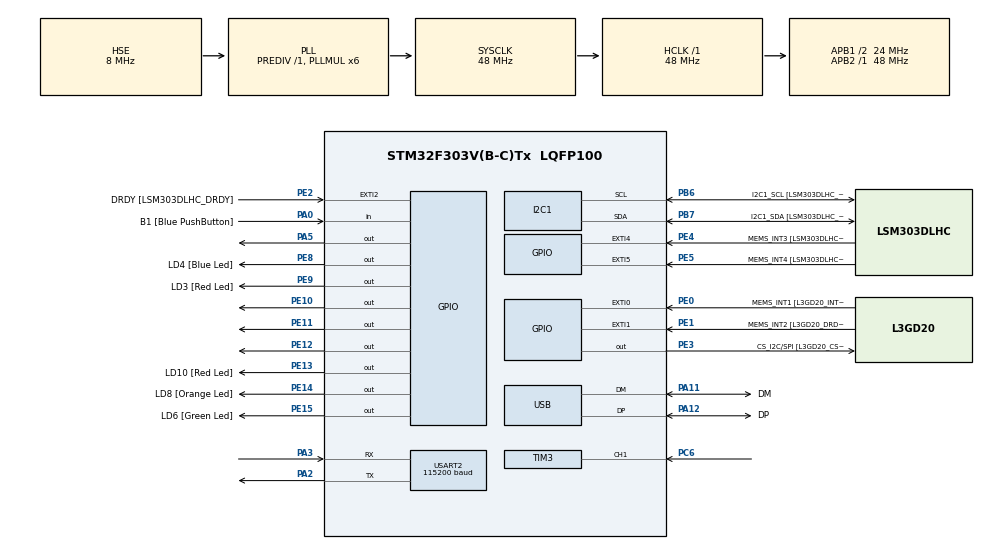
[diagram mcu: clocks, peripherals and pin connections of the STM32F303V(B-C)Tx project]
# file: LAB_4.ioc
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I2C1.Timing=0x00201D2B
I2C1.Timing-I2C=0x2000090E
Mcu.Family=STM32F3
Mcu.Name=STM32F303V(B-C)Tx
Mcu.Package=LQFP100
NVIC.PriorityGroup=NVIC_PRIORITYGROUP_0
NVIC.TIM3_IRQn=true\:0\:0\:false\:false\:true\:true\:true\:true
NVIC.USART2_IRQn=true\:0\:0\:false\:false\:true\:true\:true\:true
PA0.GPIO_Label=B1 [Blue PushButton]
PA0.Signal=GPIO_Input
PA11.GPIO_Label=DM
PA11.Mode=Device
PA11.Signal=USB_DM
PA12.GPIO_Label=DP
PA12.Mode=Device
PA12.Signal=USB_DP
PA13.GPIO_Label=SWDIO
PA13.Mode=Serial_Wire
PA13.Signal=SYS_JTMS-SWDIO
PA14.GPIO_Label=SWCLK
PA14.Mode=Serial_Wire
PA14.Signal=SYS_JTCK-SWCLK
PA2.Mode=Asynchronous
PA2.Signal=USART2_TX
PA3.Mode=Asynchronous
PA3.Signal=USART2_RX
PA5.Signal=GPIO_Output
PA6.GPIO_Label=SPI1_MISO [L3GD20_SA0/SDO]
PA6.Signal=SPI1_MISO
PA7.GPIO_Label=SPI1_MISO [L3GD20_SDA/SDI/SDO]
PA7.Signal=SPI1_MOSI
PB3.GPIO_Label=SWO
PB3.Signal=SYS_JTDO-TRACESWO
PB6.GPIO_Label=I2C1_SCL [LSM303DLHC_SCL]
PB6.GPIO_Pu=GPIO_PULLUP
PB6.Mode=I2C
PB6.Signal=I2C1_SCL
PB7.GPIO_Label=I2C1_SDA [LSM303DLHC_SDA]
PB7.GPIO_Pu=GPIO_PULLUP
PB7.Mode=I2C
PB7.Signal=I2C1_SDA
PC14-OSC32_IN.GPIO_Label=OSC32_IN
PC14-OSC32_IN.Signal=RCC_OSC32_IN
PC15-OSC32_OUT.GPIO_Label=OSC32_OUT
PC15-OSC32_OUT.Signal=RCC_OSC32_OUT
PC6.Signal=S_TIM3_CH1
PE0.GPIO_Label=MEMS_INT1 [L3GD20_INT1]
PE0.GPIO_ModeDefaultEXTI=GPIO_MODE_EVT_RISING
PE0.Signal=GPXTI0
PE1.GPIO_Label=MEMS_INT2 [L3GD20_DRDY/INT2]
PE1.GPIO_ModeDefaultEXTI=GPIO_MODE_EVT_RISING
PE1.Signal=GPXTI1
PE10.Signal=GPIO_Output
PE11.Signal=GPIO_Output
PE12.Signal=GPIO_Output
PE13.GPIO_Label=LD10 [Red Led]
PE13.Signal=GPIO_Output
PE14.GPIO_Label=LD8 [Orange Led]
PE14.Signal=GPIO_Output
PE15.GPIO_Label=LD6 [Green Led]
PE15.Signal=GPIO_Output
PE2.GPIO_Label=DRDY [LSM303DLHC_DRDY]
PE2.GPIO_ModeDefaultEXTI=GPIO_MODE_EVT_RISING
PE2.Signal=GPXTI2
PE3.GPIO_Label=CS_I2C/SPI [L3GD20_CS_I2C/SPI]
PE3.Signal=GPIO_Output
PE4.GPIO_Label=MEMS_INT3 [LSM303DLHC_INT1]
PE4.GPIO_ModeDefaultEXTI=GPIO_MODE_EVT_RISING
PE4.Signal=GPXTI4
PE5.GPIO_Label=MEMS_INT4 [LSM303DLHC_INT2]
PE5.GPIO_ModeDefaultEXTI=GPIO_MODE_EVT_RISING
PE5.Signal=GPXTI5
PE8.GPIO_Label=LD4 [Blue Led]
PE8.Signal=GPIO_Output
PE9.GPIO_Label=LD3 [Red Led]
PE9.Signal=GPIO_Output
PF0-OSC_IN.GPIO_Label=OSC_IN
PF0-OSC_IN.Mode=HSE-External-Clock-Source
PF0-OSC_IN.Signal=RCC_OSC_IN
PF1-OSC_OUT.GPIO_Label=OSC_OUT
PF1-OSC_OUT.Signal=RCC_OSC_OUT
ProjectManager.HeapSize=0x200
ProjectManager.StackSize=0x400
ProjectManager.TargetToolchain=CMake
RCC.AHBFreq_Value=48000000
RCC.APB1CLKDivider=RCC_HCLK_DIV2
RCC.APB1Freq_Value=24000000
RCC.APB1TimFreq_Value=48000000
RCC.APB2Freq_Value=48000000
RCC.APB2TimFreq_Value=48000000
RCC.CortexFreq_Value=48000000
RCC.HCLKFreq_Value=48000000
RCC.HSE_VALUE=8000000
RCC.HSI_VALUE=8000000
RCC.LSE_VALUE=32768
RCC.PLLMUL=RCC_PLL_MUL6
RCC.SYSCLKFreq_VALUE=48000000
RCC.SYSCLKSourceVirtual=RCC_SYSCLKSOURCE_PLLCLK
RCC.USBFreq_Value=48000000
SH.S_TIM3_CH1.0=TIM3_CH1,Input_Capture1_from_TI1
TIM2.Prescaler=47999
TIM3.Channel-Input_Capture1_from_TI1=TIM_CHANNEL_1
TIM3.Period=0xFFFF
TIM3.Prescaler=47
USART2.BaudRate=115200
USART2.VirtualMode-Asynchronous=VM_ASYNC
VP_TIM2_VS_ClockSourceINT.Mode=Internal
board=STM32F3DISCOVERY

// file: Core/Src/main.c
/* USER CODE BEGIN Header */
/**
  ******************************************************************************
  * @file           : main.c
  * @brief          : Main program body
  ******************************************************************************
  * @attention
  *
  * Copyright (c) 2025 STMicroelectronics.
  * All rights reserved.
  *
  * This software is licensed under terms that can be found in the LICENSE file
  * in the root directory of this software component.
  * If no LICENSE file comes with this software, it is provided AS-IS.
  *
  ******************************************************************************
  */
/* USER CODE END Header */
#include "main.h"
#include <stdio.h>

UART_HandleTypeDef huart2;

// #include "usb_device.h"

I2C_HandleTypeDef hi2c1;

TIM_HandleTypeDef htim2;
TIM_HandleTypeDef htim3;

PCD_HandleTypeDef hpcd_USB_FS;

void SystemClock_Config(void);
static void MX_GPIO_Init(void);
static void MX_I2C1_Init(void);
static void MX_TIM2_Init(void);
static void MX_USB_PCD_Init(void);
static void MX_TIM3_Init(void);
/* USER CODE BEGIN PFP */
static void MX_USART2_UART_Init(void)
{
  huart2.Instance = USART2;
  huart2.Init.BaudRate = 115200;
  huart2.Init.WordLength = UART_WORDLENGTH_8B;
  huart2.Init.StopBits = UART_STOPBITS_1;
  huart2.Init.Parity = UART_PARITY_NONE;
  huart2.Init.Mode = UART_MODE_TX_RX;
  huart2.Init.HwFlowCtl = UART_HWCONTROL_NONE;
  huart2.Init.OverSampling = UART_OVERSAMPLING_16;
  if (HAL_UART_Init(&huart2) != HAL_OK)
  {
    Error_Handler();
  }
}

/* USER CODE END PFP */

/* USER CODE BEGIN 0 */

/* USER CODE BEGIN 0 */
void delay_ms(uint32_t ms)
{
    __HAL_TIM_SET_COUNTER(&htim2, 0);        // Reset counter
    HAL_TIM_Base_Start(&htim2);              // Start TIM2

    while (__HAL_TIM_GET_COUNTER(&htim2) < ms)
    {
        // wait until counter reaches "ms"
    }

    HAL_TIM_Base_Stop(&htim2);               // Stop TIM2
}

// uint32_t countA = 0;
// uint32_t countB = 0;                                 //TASK 3
// uint32_t countC = 0;

/* USER CODE END 0 */

volatile uint32_t last_capture = 0;
volatile uint32_t period = 0;
volatile float frequency = 0;

void HAL_TIM_IC_CaptureCallback(TIM_HandleTypeDef *htim){
  if (htim->Channel == HAL_TIM_ACTIVE_CHANNEL_1)
  {
    uint32_t current_capture = HAL_TIM_ReadCapturedValue(htim, TIM_CHANNEL_1);

    if (current_capture >= last_capture)
      period = current_capture - last_capture;
    else
      period = (0xFFFF - last_capture + current_capture + 1);

    last_capture = current_capture;

    // Timer tick = 1 MHz → 1 µs
    // float timer_clock = 48000000.0f; // 48 MHz
    frequency = 1000000 / period;

    // Print results
    // printf("Period: %lu us | Frequency: %.2f Hz\r\n", period, frequency);
  }
}
int main(void)
{

  /* MCU Configuration--------------------------------------------------------*/

  /* Reset of all peripherals, Initializes the Flash interface and the Systick. */
  HAL_Init();

  /* Configure the system clock */
  SystemClock_Config();

  /* Initialize all configured peripherals */
  MX_GPIO_Init();
  MX_I2C1_Init();
  MX_TIM2_Init();
  MX_USB_PCD_Init();
  MX_USART2_UART_Init();
  MX_TIM3_Init();
  /* USER CODE BEGIN 2 */
  /* USER CODE BEGIN 2 */
HAL_TIM_IC_Start_IT(&htim3, TIM_CHANNEL_1);   // Start TIM3 Input Capture on CH1
/* USER CODE END 2 */

/* USER CODE BEGIN 2 */
  // Start TIM2 in interrupt mode
  /* USER CODE END 2 */

  /* Infinite loop */
  /* USER CODE BEGIN WHILE */
  // HAL_TIM_Base_Start_IT (& htim2 );                    //TASK 2

// HAL_TIM_Base_Start_IT(&htim2);    // TASK 3

// HAL_TIM_IC_Start_IT(&htim3, TIM_CHANNEL_1);  //task4

  while (1)
  {printf("Latest: Period=%lu us | Frequency=%.2f Hz\r\n", period, frequency);
    HAL_Delay(500);
    /* USER CODE END WHILE */

  }
}
// void HAL_TIM_PeriodElapsedCallback(TIM_HandleTypeDef *htim)                   //WHOLE TASK 3
// {
//     if (htim->Instance == TIM2)
//     {
//         // Increment counters every 1 ms
//         countA++;
//         countB++;
//         countC++;

//         // LED A: 500 ms toggle (1 Hz square wave)
//         if (countA >= 500)
//         {
//             HAL_GPIO_TogglePin(GPIOE, GPIO_PIN_10); // LED A
//             countA = 0;
//         }

//         // LED B: 200 ms toggle (2.5 Hz square wave)
//         if (countB >= 200)
//         {
//             HAL_GPIO_TogglePin(GPIOE, GPIO_PIN_11); // LED B
//             countB = 0;
//         }

//         // LED C: 100 ms toggle (5 Hz square wave)
//         if (countC >= 100)
//         {
//             HAL_GPIO_TogglePin(GPIOE, GPIO_PIN_12); // LED C
//             countC = 0;
//         }
//     }
// }

void SystemClock_Config(void)
{
  RCC_OscInitTypeDef RCC_OscInitStruct = {0};
  RCC_ClkInitTypeDef RCC_ClkInitStruct = {0};
  RCC_PeriphCLKInitTypeDef PeriphClkInit = {0};

  /** Initializes the RCC Oscillators according to the specified parameters
  * in the RCC_OscInitTypeDef structure.
  */
  RCC_OscInitStruct.OscillatorType = RCC_OSCILLATORTYPE_HSI|RCC_OSCILLATORTYPE_HSE;
  RCC_OscInitStruct.HSEState = RCC_HSE_BYPASS;
  RCC_OscInitStruct.HSEPredivValue = RCC_HSE_PREDIV_DIV1;
  RCC_OscInitStruct.HSIState = RCC_HSI_ON;
  RCC_OscInitStruct.HSICalibrationValue = RCC_HSICALIBRATION_DEFAULT;
  RCC_OscInitStruct.PLL.PLLState = RCC_PLL_ON;
  RCC_OscInitStruct.PLL.PLLSource = RCC_PLLSOURCE_HSE;
  RCC_OscInitStruct.PLL.PLLMUL = RCC_PLL_MUL6;
  if (HAL_RCC_OscConfig(&RCC_OscInitStruct) != HAL_OK)
  {
    Error_Handler();
  }

  /** Initializes the CPU, AHB and APB buses clocks
  */
  RCC_ClkInitStruct.ClockType = RCC_CLOCKTYPE_HCLK|RCC_CLOCKTYPE_SYSCLK
                              |RCC_CLOCKTYPE_PCLK1|RCC_CLOCKTYPE_PCLK2;
  RCC_ClkInitStruct.SYSCLKSource = RCC_SYSCLKSOURCE_PLLCLK;
  RCC_ClkInitStruct.AHBCLKDivider = RCC_SYSCLK_DIV1;
  RCC_ClkInitStruct.APB1CLKDivider = RCC_HCLK_DIV2;
  RCC_ClkInitStruct.APB2CLKDivider = RCC_HCLK_DIV1;

  if (HAL_RCC_ClockConfig(&RCC_ClkInitStruct, FLASH_LATENCY_1) != HAL_OK)
  {
    Error_Handler();
  }
  PeriphClkInit.PeriphClockSelection = RCC_PERIPHCLK_USB|RCC_PERIPHCLK_I2C1;
  PeriphClkInit.I2c1ClockSelection = RCC_I2C1CLKSOURCE_HSI;
  PeriphClkInit.USBClockSelection = RCC_USBCLKSOURCE_PLL;
  if (HAL_RCCEx_PeriphCLKConfig(&PeriphClkInit) != HAL_OK)
  {
    Error_Handler();
  }
}

static void MX_I2C1_Init(void)
{

  hi2c1.Instance = I2C1;
  hi2c1.Init.Timing = 0x2000090E;
  hi2c1.Init.OwnAddress1 = 0;
  hi2c1.Init.AddressingMode = I2C_ADDRESSINGMODE_7BIT;
  hi2c1.Init.DualAddressMode = I2C_DUALADDRESS_DISABLE;
  hi2c1.Init.OwnAddress2 = 0;
  hi2c1.Init.OwnAddress2Masks = I2C_OA2_NOMASK;
  hi2c1.Init.GeneralCallMode = I2C_GENERALCALL_DISABLE;
  hi2c1.Init.NoStretchMode = I2C_NOSTRETCH_DISABLE;
  if (HAL_I2C_Init(&hi2c1) != HAL_OK)
  {
    Error_Handler();
  }

  /** Configure Analogue filter
  */
  if (HAL_I2CEx_ConfigAnalogFilter(&hi2c1, I2C_ANALOGFILTER_ENABLE) != HAL_OK)
  {
    Error_Handler();
  }

  /** Configure Digital filter
  */
  if (HAL_I2CEx_ConfigDigitalFilter(&hi2c1, 0) != HAL_OK)
  {
    Error_Handler();
  }

}

static void MX_TIM2_Init(void)
{

  TIM_ClockConfigTypeDef sClockSourceConfig = {0};
  TIM_MasterConfigTypeDef sMasterConfig = {0};

  htim2.Instance = TIM2;
  htim2.Init.Prescaler = 47999;
  htim2.Init.CounterMode = TIM_COUNTERMODE_UP;
  htim2.Init.Period = 999 ;//4294967295;
  htim2.Init.ClockDivision = TIM_CLOCKDIVISION_DIV1;
  htim2.Init.AutoReloadPreload = TIM_AUTORELOAD_PRELOAD_DISABLE;
  if (HAL_TIM_Base_Init(&htim2) != HAL_OK)
  {
    Error_Handler();
  }
  sClockSourceConfig.ClockSource = TIM_CLOCKSOURCE_INTERNAL;
  if (HAL_TIM_ConfigClockSource(&htim2, &sClockSourceConfig) != HAL_OK)
  {
    Error_Handler();
  }
  sMasterConfig.MasterOutputTrigger = TIM_TRGO_RESET;
  sMasterConfig.MasterSlaveMode = TIM_MASTERSLAVEMODE_DISABLE;
  if (HAL_TIMEx_MasterConfigSynchronization(&htim2, &sMasterConfig) != HAL_OK)
  {
    Error_Handler();
  }

}

static void MX_TIM3_Init(void)
{

  TIM_MasterConfigTypeDef sMasterConfig = {0};
  TIM_IC_InitTypeDef sConfigIC = {0};

  htim3.Instance = TIM3;
  htim3.Init.Prescaler = 47;
  htim3.Init.CounterMode = TIM_COUNTERMODE_UP;
  htim3.Init.Period = 65535;
  htim3.Init.ClockDivision = TIM_CLOCKDIVISION_DIV1;
  htim3.Init.AutoReloadPreload = TIM_AUTORELOAD_PRELOAD_DISABLE;
  if (HAL_TIM_IC_Init(&htim3) != HAL_OK)
  {
    Error_Handler();
  }
  sMasterConfig.MasterOutputTrigger = TIM_TRGO_RESET;
  sMasterConfig.MasterSlaveMode = TIM_MASTERSLAVEMODE_DISABLE;
  if (HAL_TIMEx_MasterConfigSynchronization(&htim3, &sMasterConfig) != HAL_OK)
  {
    Error_Handler();
  }
  sConfigIC.ICPolarity = TIM_INPUTCHANNELPOLARITY_RISING;
  sConfigIC.ICSelection = TIM_ICSELECTION_DIRECTTI;
  sConfigIC.ICPrescaler = TIM_ICPSC_DIV1;
  sConfigIC.ICFilter = 0;
  if (HAL_TIM_IC_ConfigChannel(&htim3, &sConfigIC, TIM_CHANNEL_1) != HAL_OK)
  {
    Error_Handler();
  }

}

static void MX_USB_PCD_Init(void)
{

  hpcd_USB_FS.Instance = USB;
  hpcd_USB_FS.Init.dev_endpoints = 8;
  hpcd_USB_FS.Init.speed = PCD_SPEED_FULL;
  hpcd_USB_FS.Init.phy_itface = PCD_PHY_EMBEDDED;
  hpcd_USB_FS.Init.low_power_enable = DISABLE;
  hpcd_USB_FS.Init.battery_charging_enable = DISABLE;
  if (HAL_PCD_Init(&hpcd_USB_FS) != HAL_OK)
  {
    Error_Handler();
  }

}

static void MX_GPIO_Init(void)
{
  GPIO_InitTypeDef GPIO_InitStruct = {0};

  /* GPIO Ports Clock Enable */
  __HAL_RCC_GPIOE_CLK_ENABLE();
  __HAL_RCC_GPIOC_CLK_ENABLE();
  __HAL_RCC_GPIOF_CLK_ENABLE();
  __HAL_RCC_GPIOA_CLK_ENABLE();
  __HAL_RCC_GPIOB_CLK_ENABLE();

  /*Configure GPIO pin Output Level */
  HAL_GPIO_WritePin(GPIOE, CS_I2C_SPI_Pin|LD4_Pin|LD3_Pin|GPIO_PIN_10
                          |GPIO_PIN_11|GPIO_PIN_12|LD10_Pin|LD8_Pin
                          |LD6_Pin, GPIO_PIN_RESET);

  /*Configure GPIO pin Output Level */
  HAL_GPIO_WritePin(GPIOA, GPIO_PIN_5, GPIO_PIN_RESET);

  /*Configure GPIO pins : DRDY_Pin MEMS_INT3_Pin MEMS_INT4_Pin MEMS_INT1_Pin
                           MEMS_INT2_Pin */
  GPIO_InitStruct.Pin = DRDY_Pin|MEMS_INT3_Pin|MEMS_INT4_Pin|MEMS_INT1_Pin
                          |MEMS_INT2_Pin;
  GPIO_InitStruct.Mode = GPIO_MODE_EVT_RISING;
  GPIO_InitStruct.Pull = GPIO_NOPULL;
  HAL_GPIO_Init(GPIOE, &GPIO_InitStruct);

  /*Configure GPIO pins : CS_I2C_SPI_Pin LD4_Pin LD3_Pin PE10
                           PE11 PE12 LD10_Pin LD8_Pin
                           LD6_Pin */
  GPIO_InitStruct.Pin = CS_I2C_SPI_Pin|LD4_Pin|LD3_Pin|GPIO_PIN_10
                          |GPIO_PIN_11|GPIO_PIN_12|LD10_Pin|LD8_Pin
                          |LD6_Pin;
  GPIO_InitStruct.Mode = GPIO_MODE_OUTPUT_PP;
  GPIO_InitStruct.Pull = GPIO_NOPULL;
  GPIO_InitStruct.Speed = GPIO_SPEED_FREQ_LOW;
  HAL_GPIO_Init(GPIOE, &GPIO_InitStruct);

  /*Configure GPIO pin : B1_Pin */
  GPIO_InitStruct.Pin = B1_Pin;
  GPIO_InitStruct.Mode = GPIO_MODE_INPUT;
  GPIO_InitStruct.Pull = GPIO_NOPULL;
  HAL_GPIO_Init(B1_GPIO_Port, &GPIO_InitStruct);

  /*Configure GPIO pin : PA5 */
  GPIO_InitStruct.Pin = GPIO_PIN_5;
  GPIO_InitStruct.Mode = GPIO_MODE_OUTPUT_PP;
  GPIO_InitStruct.Pull = GPIO_NOPULL;
  GPIO_InitStruct.Speed = GPIO_SPEED_FREQ_LOW;
  HAL_GPIO_Init(GPIOA, &GPIO_InitStruct);

  /*Configure GPIO pins : SPI1_MISO_Pin SPI1_MISOA7_Pin */
  GPIO_InitStruct.Pin = SPI1_MISO_Pin|SPI1_MISOA7_Pin;
  GPIO_InitStruct.Mode = GPIO_MODE_AF_PP;
  GPIO_InitStruct.Pull = GPIO_NOPULL;
  GPIO_InitStruct.Speed = GPIO_SPEED_FREQ_HIGH;
  GPIO_InitStruct.Alternate = GPIO_AF5_SPI1;
  HAL_GPIO_Init(GPIOA, &GPIO_InitStruct);

}

/* USER CODE BEGIN 4 */

/* USER CODE BEGIN 4 */
int __io_putchar(int ch)
{
    HAL_UART_Transmit(&huart2, (uint8_t *)&ch, 1, HAL_MAX_DELAY);
    return ch;
}
/* USER CODE END 4 */

// void HAL_TIM_PeriodElapsedCallback(TIM_HandleTypeDef *htim)                            //TASK2
// {
//     if (htim->Instance == TIM2)
//     {
//         HAL_GPIO_TogglePin(GPIOE, GPIO_PIN_10);  // Toggle LED on PE10
//     }
// }

/* USER CODE END 4 */

void Error_Handler(void)
{
  __disable_irq();
  while (1)
  {
  }
}
